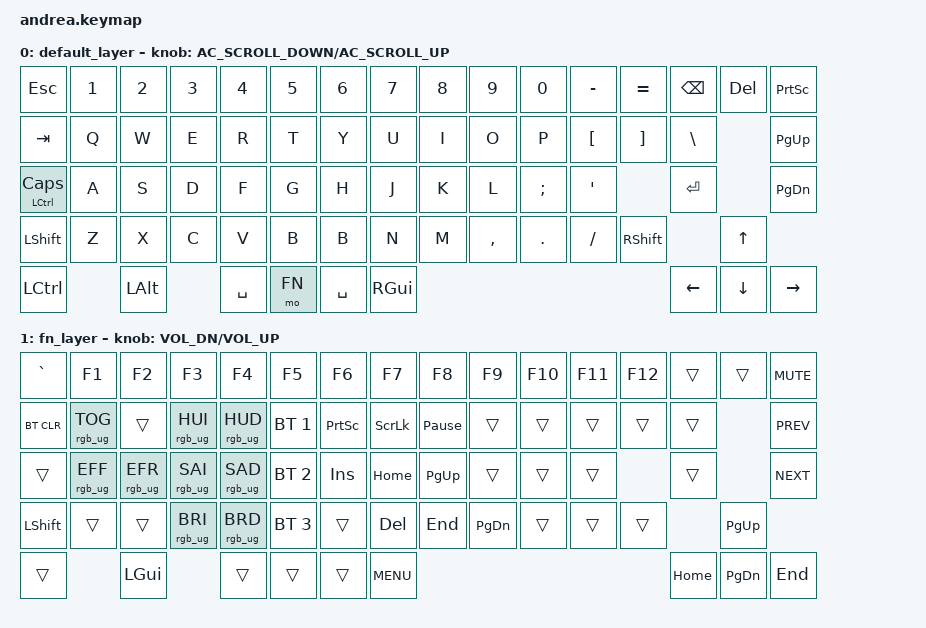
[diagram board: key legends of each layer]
#include <behaviors.dtsi>
#include <dt-bindings/zmk/keys.h>
#include <dt-bindings/zmk/bt.h>
#include <dt-bindings/zmk/outputs.h>
#include <dt-bindings/zmk/rgb.h>
#include <dt-bindings/zmk/ext_power.h>

#define FN 1

/ {
	keymap {
		compatible = "zmk,keymap";

		default_layer {
// -----------------------------------------------------------------------------------------
//   | ESC   | 1     | 2     | 3     | 4     | 5     | 6     | 7     | 8     | 9     | 0     | -     | =     | BSPC  | BSPC  | PRSC  |
//   | TAB   | Q     | W     | E     | R     | T     | Y     | U     | I     | O     | P     | [     | ]     | \     |         PGUP  |
// |MT(SPACE)| A     | S     | D     | F     | G     | H     | J     | K     | L     | ;     | '     |         ENTER |         PGDN  |
//   | SHIFT | Z     | X     | C     | V     | B     | B     | N     | M     | ,     | .     | /     | SHIFT |         UP    |
//   | CTRL  |         ALT   |  LT(SPACE, 1) | BSPC  |   LT(SPACE,1) | ALT   |                                 LEFT  | DOWN  | RIGHT |

			bindings = <
    &kp ESC          &kp NUM_1        &kp NUM_2     &kp NUM_3     &kp NUM_4     &kp NUM_5        &kp NUM_6        &kp NUM_7        &kp NUM_8        &kp NUM_9        &kp NUM_0        &kp MINUS        &kp EQL          &kp BKSP         &kp DEL         &kp PSCRN
    &kp TAB          &kp Q            &kp W         &kp E         &kp R         &kp T            &kp Y            &kp U            &kp I            &kp O            &kp P            &kp LBKT         &kp RBKT         &kp BSLH                         &kp PG_UP
    &mt LCTRL CAPS   &kp A            &kp S         &kp D         &kp F         &kp G            &kp H            &kp J            &kp K            &kp L            &kp SCLN         &kp QUOT                          &kp ENTER                        &kp PG_DN
    &kp LSHFT        &kp Z            &kp X         &kp C         &kp V         &kp B            &kp B            &kp N            &kp M            &kp CMMA         &kp DOT          &kp FSLH         &kp RSHFT                         &kp UP
    &kp LCTRL                         &kp LALT                    &kp SPACE  &mo FN         &kp SPACE     &kp RGUI                                                                                              &kp LEFT         &kp DOWN        &kp RIGHT
			>;
			
			sensor-bindings = <&inc_dec_kp C_AC_SCROLL_DOWN C_AC_SCROLL_UP>;
			
		};

		fn_layer {
// -----------------------------------------------------------------------------------------
//   | GRAVE | F1    | F2    | F3    | F4    | F5    | F6    | F7    | F8    | F9    | F10   | F11   | F12   | RESET  | TRANS | MUTE  |
//   | TRANS |RGB_TOG| TRANS |RGB_HUI|RGB_HUD| TRANS | PSCR  | SCLK  | PAUSE | TRANS | TRANS | TRANS | TRANS | RESET  |         NEXT T|
// |MT(SPACE)|RGB_EFF|RGB_EFR|RGB_SAI|RGB_SAD| TRANS | INS   | HOME  | PG_UP | TRANS | TRANS | TRANS |         TRANS  |         PREV T|
//   | SHIFT | TRANS | TRANS |RGB_BRI|RGB_BRD| TRANS | TRANS | DEL   | END   | PG_DN | TRANS | TRANS | TRANS |          PG_UP |
//   | TRANS |         GUI   |         TRANS | TRANS |         TRANS | MENU  |                                 HOME   | PG_DN | END   |

			bindings = <
    &kp GRAVE        &kp F1           &kp F2           &kp F3          &kp F4          &kp F5        &kp F6           &kp F7           &kp F8           &kp F9           &kp F10          &kp F11          &kp F12          &trans           &trans         &kp C_MUTE
    &bt BT_CLR           &rgb_ug RGB_TOG  &trans           &rgb_ug RGB_HUI &rgb_ug RGB_HUD &bt BT_SEL 1        &kp PSCRN        &kp SLCK         &kp PAUSE_BREAK  &trans           &trans           &trans           &trans           &trans                          &kp C_PREV
    &trans           &rgb_ug RGB_EFF  &rgb_ug RGB_EFR  &rgb_ug RGB_SAI &rgb_ug RGB_SAD &bt BT_SEL 2        &kp INS          &kp HOME         &kp PG_UP        &trans           &trans           &trans                            &trans                          &kp C_NEXT
    &kp LSHFT        &trans           &trans           &rgb_ug RGB_BRI &rgb_ug RGB_BRD &bt BT_SEL 3        &trans           &kp DEL          &kp END          &kp PG_DN        &trans           &trans           &trans                            &kp PG_UP
    &trans                            &kp LGUI                         &trans          &trans        &trans           &kp C_MENU                                                                                            &kp HOME         &kp PG_DN      &kp END        
			>;

			sensor-bindings = <&inc_dec_kp C_VOL_DN C_VOL_UP>;

		};

	};
};
